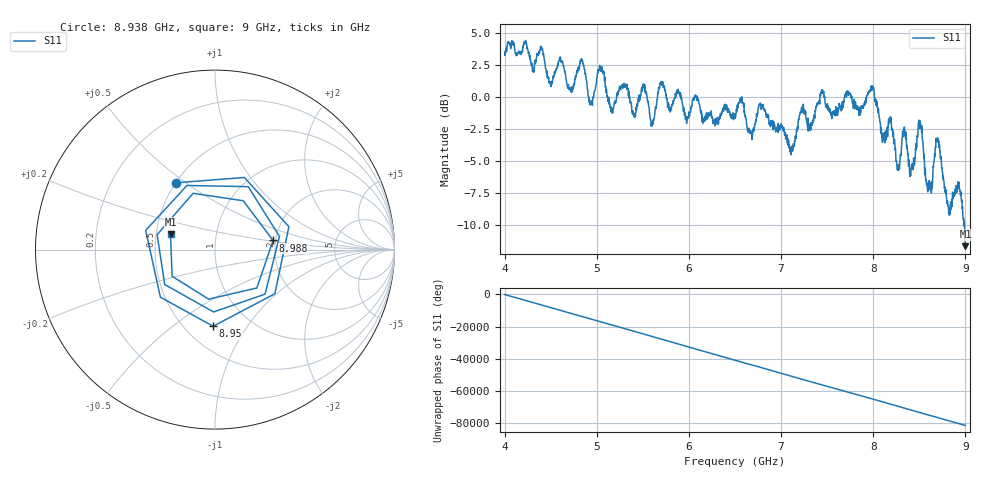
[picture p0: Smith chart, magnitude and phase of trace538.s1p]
! Created with skrf 1.8.0 (http://scikit-rf.org).
# Hz S RI R 50.0
!freq ReS11 ImS11
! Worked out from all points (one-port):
!   1601 points, 4 GHz to 9 GHz, reference 50 ohm
!   lowest |S11| = -11.6 dB at 9 GHz (marker M1), VSWR 1.71, Z = 29.8 + j5.41 ohm
!   |S11| at or under -10 dB: 8.983747 GHz to 8.984551 GHz (804.6 kHz wide, 0.00896 % of centre); 8.991016 GHz to end of sweep
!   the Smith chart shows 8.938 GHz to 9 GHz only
!   S11 on the Smith chart (normalised r, x): 8.938 GHz: 0.50, +0.46; 8.95 GHz: 0.68, -0.71; 8.988 GHz: 1.94, +0.22; 9 GHz: 0.60, +0.11
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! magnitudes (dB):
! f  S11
! 4 GHz  3.4
! 4.625 GHz  2.8
! 4.719 GHz  0.4
! 4.841 GHz  2.9
! 4.931 GHz  -0.4
! 5.034 GHz  2.2
! 5.159 GHz  -0.9
! 5.25 GHz  0.7
! 5.406 GHz  -1.5
! 5.519 GHz  1.0
! 5.603 GHz  -2.2
! 5.694 GHz  1.2
! 5.875 GHz  0.5
! 6.5 GHz  -1.3
! 7.125 GHz  -4.2
! 7.228 GHz  -0.7
! 7.75 GHz  0.2
! 7.988 GHz  0.9
! 8.262 GHz  -5.7
! 8.375 GHz  -4.5
! 8.509 GHz  -1.8
! 8.606 GHz  -6.5
! 8.697 GHz  -3.3
! 8.819 GHz  -9.1
! 8.938 GHz  -7.3
! 8.95 GHz  -7.4
! 8.988 GHz  -9.7
! 9 GHz  -11.6
